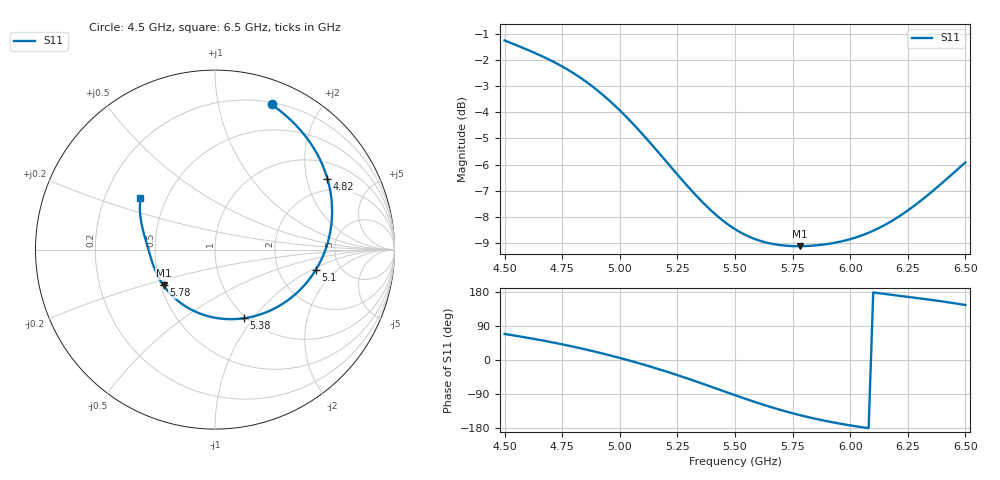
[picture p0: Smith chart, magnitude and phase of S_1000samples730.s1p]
! TOUCHSTONE file generated by CST MICROWAVE STUDIO
! Date and time: Sat Oct 29 04:39:17 2022
! Project name: L.cst
! Parameters = {Di=1.27; Epsilon_r=1.56; InnerDiameter=1.27; Length=2; Lf=10; Lg=60; OuterConductorThickness=0.2921; OuterDiameter=3.6; Wf=3; Wp=41.2; de=1.5; df=6.8; g=0.8; gx=1.9811; gy=1.92739; h=2.34; hf=1.524; px=11.5249; py=10.8376; w=9.7; wx=9.54384; wy=8.91022}
! Header version: 2018
! Port assignment regex: !\s*Touchstone port\s*([0-9]+)\s*=\s*(CST MWS port|CST DS port)\s*([0-9]+|Zmin|Zmax)\s*\(\"(.*)\"\)(\s*mode\s*([0-9]+))?.*
! Touchstone port assignment:
! Touchstone port 1 = CST MWS port 1 ("")
# GHz S DB R 50
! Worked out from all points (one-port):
!   101 points, 4.5 GHz to 6.5 GHz, reference 50 ohm
!   lowest |S11| = -9.1 dB at 5.78 GHz (marker M1), VSWR 2.07, Z = 25.9 - j11.7 ohm
!   |S11| at or under -10 dB: nowhere
!   S11 on the Smith chart (normalised r, x): 4.5 GHz: 0.22, +1.44; 4.82 GHz: 1.53, +2.67; 5.1 GHz: 3.26, -1.11; 5.38 GHz: 0.98, -0.90; 5.78 GHz: 0.52, -0.23; 6.5 GHz: 0.36, +0.28
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4.5  -1.23 68.7
4.58  -1.52 60.7
4.64  -1.75 54.3
4.7  -2.00 47.4
4.76  -2.28 40.1
4.82  -2.61 32.2
4.88  -2.99 23.8
4.92  -3.28 17.9
5  -3.92 5.4
5.04  -4.28 -1.2
5.1  -4.85 -11.6
5.18  -5.66 -26.3
5.26  -6.49 -42.0
5.32  -7.08 -54.3
5.38  -7.63 -67.0
5.44  -8.10 -79.9
5.5  -8.49 -92.8
5.58  -8.84 -109.4
5.64  -9.01 -121.2
5.7  -9.10 -132.1
5.76  -9.14 -142.1
5.78  -9.14 -145.2
5.88  -9.08 -159.1
6  -8.87 -172.5
6.12  -8.46 176.8
6.26  -7.70 165.8
6.38  -6.86 156.2
6.5  -5.92 145.1
